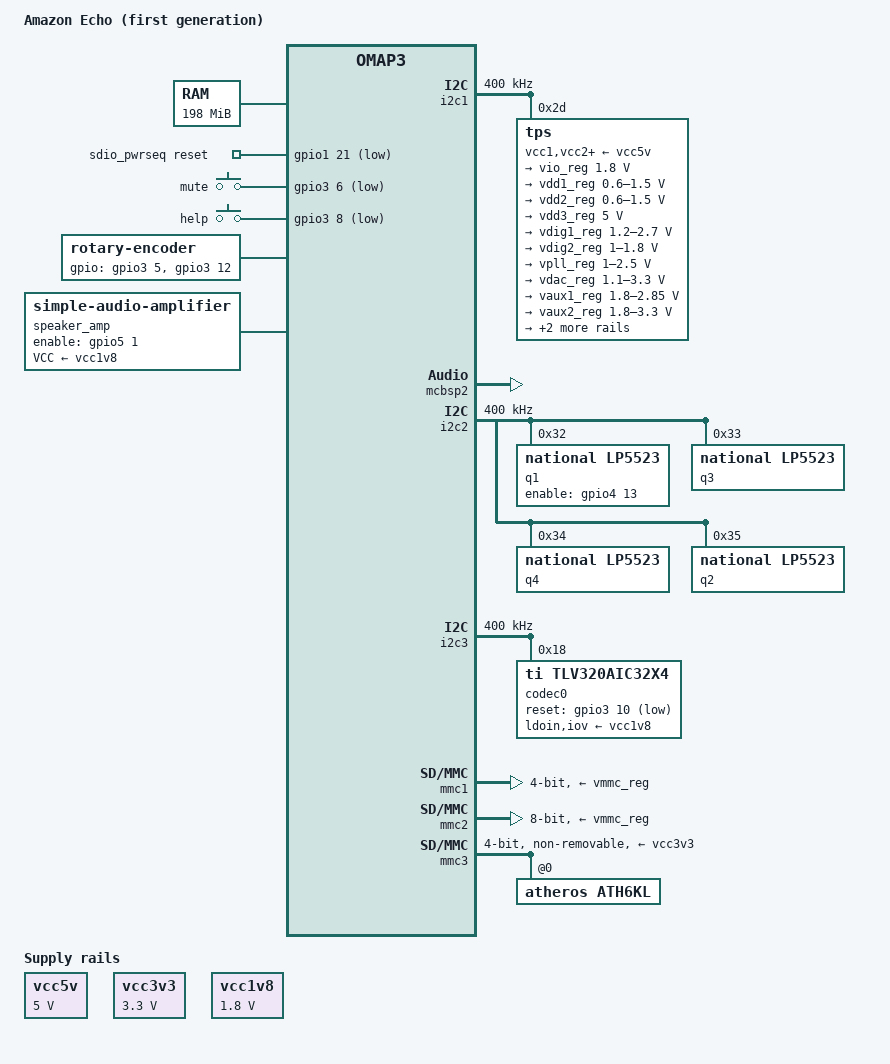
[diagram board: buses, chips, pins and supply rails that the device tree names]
// SPDX-License-Identifier: GPL-2.0-only
/*
 * Copyright (C) 2019 André Hentschel <nerv@dawncrow.de>
 */
/dts-v1/;

#include "dm3725.dtsi"

#include <dt-bindings/input/input.h>
#include <dt-bindings/leds/common.h>

/ {
	model = "Amazon Echo (first generation)";
	compatible = "amazon,omap3-echo", "ti,omap3630", "ti,omap3";

	cpus {
		cpu@0 {
			cpu0-supply = <&vdd1_reg>;
		};
	};

	memory@80000000 {
		device_type = "memory";
		reg = <0x80000000 0xc600000>; /* 198 MB */
	};

	vcc5v: fixedregulator0 {
		compatible = "regulator-fixed";
		regulator-name = "vcc5v";
		regulator-min-microvolt = <5000000>;
		regulator-max-microvolt = <5000000>;
		regulator-boot-on;
		regulator-always-on;
	};

	vcc3v3: fixedregulator1 {
		compatible = "regulator-fixed";
		regulator-name = "vcc3v3";
		regulator-min-microvolt = <3300000>;
		regulator-max-microvolt = <3300000>;
		regulator-boot-on;
		regulator-always-on;
	};

	vcc1v8: fixedregulator2 {
		compatible = "regulator-fixed";
		regulator-name = "vcc1v8";
		regulator-min-microvolt = <1800000>;
		regulator-max-microvolt = <1800000>;
		regulator-boot-on;
		regulator-always-on;
	};

	sdio_pwrseq: sdio-pwrseq {
		compatible = "mmc-pwrseq-simple";
		reset-gpios = <&gpio1 21 GPIO_ACTIVE_LOW>;
		post-power-on-delay-ms = <40>;
	};

	gpio-keys {
		compatible = "gpio-keys";

		pinctrl-names = "default";
		pinctrl-0 = <&button_pins>;

		mute-button {
			label = "mute";
			linux,code = <KEY_MUTE>;
			gpios = <&gpio3 6 GPIO_ACTIVE_LOW>;	/* GPIO_70 */
			wakeup-source;
		};

		help-button {
			label = "help";
			linux,code = <KEY_HELP>;
			gpios = <&gpio3 8 GPIO_ACTIVE_LOW>;	/* GPIO_72 */
			wakeup-source;
		};
	};

	rotary: rotary-encoder {
		compatible = "rotary-encoder";
		gpios = <
			&gpio3  5 GPIO_ACTIVE_HIGH /* GPIO_69 */
			&gpio3 12 GPIO_ACTIVE_HIGH /* GPIO_76 */
		>;
		linux,axis = <REL_X>;
		rotary-encoder,relative-axis;
	};

	speaker_amp: speaker-amplifier {
		compatible = "simple-audio-amplifier";
		enable-gpios = <&gpio5 1 GPIO_ACTIVE_HIGH>;	/* gpio_129 */
		sound-name-prefix = "Speaker Amp";
		VCC-supply = <&vcc1v8>;
	};

	sound {
		compatible = "simple-audio-card";
		simple-audio-card,name = "Misto Speaker";
		simple-audio-card,widgets =
			"Speaker", "Speaker";
		simple-audio-card,routing =
			"Speaker Amp INL", "HPL",
			"Speaker Amp INR", "HPR",
			"Speaker", "Speaker Amp OUTL",
			"Speaker", "Speaker Amp OUTR";
		simple-audio-card,format = "i2s";
		simple-audio-card,bitclock-master = <&sound_master>;
		simple-audio-card,frame-master = <&sound_master>;
		simple-audio-card,aux-devs = <&speaker_amp>;

		simple-audio-card,cpu {
			sound-dai = <&mcbsp2>;
		};

		sound_master: simple-audio-card,codec {
			sound-dai = <&codec0>;
			system-clock-frequency = <19200000>;
		};
	};
};

&i2c1 {
	clock-frequency = <400000>;

	tps: tps@2d {
		reg = <0x2d>;
	};
};

&mcbsp2 {
	status = "okay";
	#sound-dai-cells = <0>;
	pinctrl-names = "default";
	pinctrl-0 = <&mcbsp2_pins>;
};

&i2c2 {
	clock-frequency = <400000>;

	lp5523A: lp5523A@32 {
		#address-cells = <1>;
		#size-cells = <0>;
		compatible = "national,lp5523";
		label = "q1";
		reg = <0x32>;
		clock-mode = /bits/ 8 <0>; /* LP55XX_CLOCK_AUTO */
		enable-gpios = <&gpio4 13 GPIO_ACTIVE_HIGH>; /* GPIO_109 */

		multi-led@0 {
			#address-cells = <1>;
			#size-cells = <0>;
			reg = <0x0>;
			color = <LED_COLOR_ID_RGB>;

			led@0 {
				led-cur = /bits/ 8 <12>;
				max-cur = /bits/ 8 <15>;
				reg = <0x0>;
				color = <LED_COLOR_ID_GREEN>;
			};

			led@1 {
				led-cur = /bits/ 8 <12>;
				max-cur = /bits/ 8 <15>;
				reg = <0x1>;
				color = <LED_COLOR_ID_BLUE>;
			};

			led@6 {
				led-cur = /bits/ 8 <12>;
				max-cur = /bits/ 8 <15>;
				reg = <0x6>;
				color = <LED_COLOR_ID_RED>;
			};
		};
		multi-led@1 {
			#address-cells = <1>;
			#size-cells = <0>;
			reg = <0x1>;
			color = <LED_COLOR_ID_RGB>;

			led@2 {
				led-cur = /bits/ 8 <12>;
				max-cur = /bits/ 8 <15>;
				reg = <0x2>;
				color = <LED_COLOR_ID_GREEN>;
			};

			led@3 {
				led-cur = /bits/ 8 <12>;
				max-cur = /bits/ 8 <15>;
				reg = <0x3>;
				color = <LED_COLOR_ID_BLUE>;
			};

			led@7 {
				led-cur = /bits/ 8 <12>;
				max-cur = /bits/ 8 <15>;
				reg = <0x7>;
				color = <LED_COLOR_ID_RED>;
			};
		};
		multi-led@2 {
			#address-cells = <1>;
			#size-cells = <0>;
			reg = <0x2>;
			color = <LED_COLOR_ID_RGB>;

			led@4 {
				led-cur = /bits/ 8 <12>;
				max-cur = /bits/ 8 <15>;
				reg = <0x4>;
				color = <LED_COLOR_ID_GREEN>;
			};

			led@5 {
				led-cur = /bits/ 8 <12>;
				max-cur = /bits/ 8 <15>;
				reg = <0x5>;
				color = <LED_COLOR_ID_BLUE>;
			};

			led@8 {
				led-cur = /bits/ 8 <12>;
				max-cur = /bits/ 8 <15>;
				reg = <0x8>;
				color = <LED_COLOR_ID_RED>;
			};
		};
	};

	lp5523B: lp5523B@33 {
		#address-cells = <1>;
		#size-cells = <0>;
		compatible = "national,lp5523";
		label = "q3";
		reg = <0x33>;
		clock-mode = /bits/ 8 <0>; /* LP55XX_CLOCK_AUTO */

		multi-led@0 {
			#address-cells = <1>;
			#size-cells = <0>;
			reg = <0x0>;
			color = <LED_COLOR_ID_RGB>;

			led@0 {
				led-cur = /bits/ 8 <12>;
				max-cur = /bits/ 8 <15>;
				reg = <0x0>;
				color = <LED_COLOR_ID_GREEN>;
			};

			led@1 {
				led-cur = /bits/ 8 <12>;
				max-cur = /bits/ 8 <15>;
				reg = <0x1>;
				color = <LED_COLOR_ID_BLUE>;
			};

			led@6 {
				led-cur = /bits/ 8 <12>;
				max-cur = /bits/ 8 <15>;
				reg = <0x6>;
				color = <LED_COLOR_ID_RED>;
			};
		};
		multi-led@1 {
			#address-cells = <1>;
			#size-cells = <0>;
			reg = <0x1>;
			color = <LED_COLOR_ID_RGB>;

			led@2 {
				led-cur = /bits/ 8 <12>;
				max-cur = /bits/ 8 <15>;
				reg = <0x2>;
				color = <LED_COLOR_ID_GREEN>;
			};

			led@3 {
				led-cur = /bits/ 8 <12>;
				max-cur = /bits/ 8 <15>;
				reg = <0x3>;
				color = <LED_COLOR_ID_BLUE>;
			};

			led@7 {
				led-cur = /bits/ 8 <12>;
				max-cur = /bits/ 8 <15>;
				reg = <0x7>;
				color = <LED_COLOR_ID_RED>;
			};
		};
		multi-led@2 {
			#address-cells = <1>;
			#size-cells = <0>;
			reg = <0x2>;
			color = <LED_COLOR_ID_RGB>;

			led@4 {
				led-cur = /bits/ 8 <12>;
				max-cur = /bits/ 8 <15>;
				reg = <0x4>;
				color = <LED_COLOR_ID_GREEN>;
			};

			led@5 {
				led-cur = /bits/ 8 <12>;
				max-cur = /bits/ 8 <15>;
				reg = <0x5>;
				color = <LED_COLOR_ID_BLUE>;
			};

			led@8 {
				led-cur = /bits/ 8 <12>;
				max-cur = /bits/ 8 <15>;
				reg = <0x8>;
				color = <LED_COLOR_ID_RED>;
			};
		};
	};

	lp5523C: lp5523C@34 {
		#address-cells = <1>;
		#size-cells = <0>;
		compatible = "national,lp5523";
		label = "q4";
		reg = <0x34>;
		clock-mode = /bits/ 8 <0>; /* LP55XX_CLOCK_AUTO */

		multi-led@0 {
			#address-cells = <1>;
			#size-cells = <0>;
			reg = <0x0>;
			color = <LED_COLOR_ID_RGB>;

			led@0 {
				led-cur = /bits/ 8 <12>;
				max-cur = /bits/ 8 <15>;
				reg = <0x0>;
				color = <LED_COLOR_ID_GREEN>;
			};

			led@1 {
				led-cur = /bits/ 8 <12>;
				max-cur = /bits/ 8 <15>;
				reg = <0x1>;
				color = <LED_COLOR_ID_BLUE>;
			};

			led@6 {
				led-cur = /bits/ 8 <12>;
				max-cur = /bits/ 8 <15>;
				reg = <0x6>;
				color = <LED_COLOR_ID_RED>;
			};
		};
		multi-led@1 {
			#address-cells = <1>;
			#size-cells = <0>;
			reg = <0x1>;
			color = <LED_COLOR_ID_RGB>;

			led@2 {
				led-cur = /bits/ 8 <12>;
				max-cur = /bits/ 8 <15>;
				reg = <0x2>;
				color = <LED_COLOR_ID_GREEN>;
			};

			led@3 {
				led-cur = /bits/ 8 <12>;
				max-cur = /bits/ 8 <15>;
				reg = <0x3>;
				color = <LED_COLOR_ID_BLUE>;
			};

			led@7 {
				led-cur = /bits/ 8 <12>;
				max-cur = /bits/ 8 <15>;
				reg = <0x7>;
				color = <LED_COLOR_ID_RED>;
			};
		};
		multi-led@2 {
			#address-cells = <1>;
			#size-cells = <0>;
			reg = <0x2>;
			color = <LED_COLOR_ID_RGB>;

			led@4 {
				led-cur = /bits/ 8 <12>;
				max-cur = /bits/ 8 <15>;
				reg = <0x4>;
				color = <LED_COLOR_ID_GREEN>;
			};

			led@5 {
				led-cur = /bits/ 8 <12>;
				max-cur = /bits/ 8 <15>;
				reg = <0x5>;
				color = <LED_COLOR_ID_BLUE>;
			};

			led@8 {
				led-cur = /bits/ 8 <12>;
				max-cur = /bits/ 8 <15>;
				reg = <0x8>;
				color = <LED_COLOR_ID_RED>;
			};
		};
	};

	lp5523D: lp552D@35 {
		#address-cells = <1>;
		#size-cells = <0>;
		compatible = "national,lp5523";
		label = "q2";
		reg = <0x35>;
		clock-mode = /bits/ 8 <0>; /* LP55XX_CLOCK_AUTO */

		multi-led@0 {
			#address-cells = <1>;
			#size-cells = <0>;
			reg = <0x0>;
			color = <LED_COLOR_ID_RGB>;

			led@0 {
				led-cur = /bits/ 8 <12>;
				max-cur = /bits/ 8 <15>;
				reg = <0x0>;
				color = <LED_COLOR_ID_GREEN>;
			};

			led@1 {
				led-cur = /bits/ 8 <12>;
				max-cur = /bits/ 8 <15>;
				reg = <0x1>;
				color = <LED_COLOR_ID_BLUE>;
			};

			led@6 {
				led-cur = /bits/ 8 <12>;
				max-cur = /bits/ 8 <15>;
				reg = <0x6>;
				color = <LED_COLOR_ID_RED>;
			};
		};
		multi-led@1 {
			#address-cells = <1>;
			#size-cells = <0>;
			reg = <0x1>;
			color = <LED_COLOR_ID_RGB>;

			led@2 {
				led-cur = /bits/ 8 <12>;
				max-cur = /bits/ 8 <15>;
				reg = <0x2>;
				color = <LED_COLOR_ID_GREEN>;
			};

			led@3 {
				led-cur = /bits/ 8 <12>;
				max-cur = /bits/ 8 <15>;
				reg = <0x3>;
				color = <LED_COLOR_ID_BLUE>;
			};

			led@7 {
				led-cur = /bits/ 8 <12>;
				max-cur = /bits/ 8 <15>;
				reg = <0x7>;
				color = <LED_COLOR_ID_RED>;
			};
		};
		multi-led@2 {
			#address-cells = <1>;
			#size-cells = <0>;
			reg = <0x2>;
			color = <LED_COLOR_ID_RGB>;

			led@4 {
				led-cur = /bits/ 8 <12>;
				max-cur = /bits/ 8 <15>;
				reg = <0x4>;
				color = <LED_COLOR_ID_GREEN>;
			};

			led@5 {
				led-cur = /bits/ 8 <12>;
				max-cur = /bits/ 8 <15>;
				reg = <0x5>;
				color = <LED_COLOR_ID_BLUE>;
			};

			led@8 {
				led-cur = /bits/ 8 <12>;
				max-cur = /bits/ 8 <15>;
				reg = <0x8>;
				color = <LED_COLOR_ID_RED>;
			};
		};
	};
};

&i2c3 {
	clock-frequency = <400000>;

	codec0: codec@18 {
		#sound-dai-cells = <0>;
		compatible = "ti,tlv320aic32x4";
		reg = <0x18>;
		clocks = <&sys_clkout1>;
		clock-names = "mclk";
		ldoin-supply = <&vcc1v8>;
		iov-supply = <&vcc1v8>;
		reset-gpios = <&gpio3 10 GPIO_ACTIVE_LOW>;	/* gpio_74 */
	};
};


#include "tps65910.dtsi"

&omap3_pmx_core {
	tps_pins: pinmux_tps_pins {
		pinctrl-single,pins = <
			OMAP3_CORE1_IOPAD(0x21e0, PIN_INPUT_PULLUP | PIN_OFF_INPUT_PULLUP | PIN_OFF_OUTPUT_LOW | PIN_OFF_WAKEUPENABLE | MUX_MODE0) /* sys_nirq.sys_nirq */
		>;
	};

	button_pins: pinmux_button_pins {
		pinctrl-single,pins = <
			OMAP3_CORE1_IOPAD(0x20dc, PIN_INPUT | MUX_MODE4)	/* dss_data0.gpio_70 */
			OMAP3_CORE1_IOPAD(0x20e0, PIN_INPUT | MUX_MODE4)	/* dss_data2.gpio_72 */
			OMAP3_CORE1_IOPAD(0x20e4, PIN_OUTPUT | MUX_MODE4)	/* dss_data4.gpio_74 */
			OMAP3_CORE1_IOPAD(0x20fa, PIN_OUTPUT_PULLDOWN | MUX_MODE4)	/* dss_data15.gpio_85 */
			OMAP3_CORE1_IOPAD(0x2a1a, PIN_OUTPUT | MUX_MODE0)	/* sys_clkout1.sys_clkout1 */
		>;
	};

	mmc1_pins: pinmux_mmc1_pins {
		pinctrl-single,pins = <
			OMAP3_CORE1_IOPAD(0x2144, PIN_INPUT_PULLUP | MUX_MODE0)		/* sdmmc1_clk.sdmmc1_clk */
			OMAP3_CORE1_IOPAD(0x2146, PIN_INPUT_PULLUP | MUX_MODE0)		/* sdmmc1_cmd.sdmmc1_cmd */
			OMAP3_CORE1_IOPAD(0x2148, PIN_INPUT_PULLUP | MUX_MODE0)		/* sdmmc1_dat0.sdmmc1_dat0 */
			OMAP3_CORE1_IOPAD(0x214a, PIN_INPUT_PULLUP | MUX_MODE0)		/* sdmmc1_dat1.sdmmc1_dat1 */
			OMAP3_CORE1_IOPAD(0x214c, PIN_INPUT_PULLUP | MUX_MODE0)		/* sdmmc1_dat2.sdmmc1_dat2 */
			OMAP3_CORE1_IOPAD(0x214e, PIN_INPUT_PULLUP | MUX_MODE0)		/* sdmmc1_dat3.sdmmc1_dat3 */
		>;
	};

	mmc2_pins: pinmux_mmc2_pins {
		pinctrl-single,pins = <
			OMAP3_CORE1_IOPAD(0x2158, PIN_INPUT_PULLUP | MUX_MODE0)		/* sdmmc2_clk.sdmmc2_clk */
			OMAP3_CORE1_IOPAD(0x215a, PIN_INPUT_PULLUP | MUX_MODE0)		/* sdmmc2_cmd.sdmmc2_cmd */
			OMAP3_CORE1_IOPAD(0x215c, PIN_INPUT_PULLUP | MUX_MODE0)		/* sdmmc2_dat0.sdmmc2_dat0 */
			OMAP3_CORE1_IOPAD(0x215e, PIN_INPUT_PULLUP | MUX_MODE0)		/* sdmmc2_dat1.sdmmc2_dat1 */
			OMAP3_CORE1_IOPAD(0x2160, PIN_INPUT_PULLUP | MUX_MODE0)		/* sdmmc2_dat2.sdmmc2_dat2 */
			OMAP3_CORE1_IOPAD(0x2162, PIN_INPUT_PULLUP | MUX_MODE0)		/* sdmmc2_dat3.sdmmc2_dat3 */
			OMAP3_CORE1_IOPAD(0x2164, PIN_INPUT_PULLUP | MUX_MODE0)		/* sdmmc2_dat4.sdmmc2_dat4 */
			OMAP3_CORE1_IOPAD(0x2166, PIN_INPUT_PULLUP | MUX_MODE0)		/* sdmmc2_dat5.sdmmc2_dat5 */
			OMAP3_CORE1_IOPAD(0x2168, PIN_INPUT_PULLUP | MUX_MODE0)		/* sdmmc2_dat6.sdmmc2_dat6 */
			OMAP3_CORE1_IOPAD(0x216a, PIN_INPUT_PULLUP | MUX_MODE0)		/* sdmmc2_dat7.sdmmc2_dat7 */
		>;
	};

	mcbsp2_pins: pinmux_mcbsp2_pins {
		pinctrl-single,pins = <
			OMAP3_CORE1_IOPAD(0x213c, PIN_INPUT | MUX_MODE0)	/* mcbsp2_fsx.mcbsp2_fsx */
			OMAP3_CORE1_IOPAD(0x213e, PIN_INPUT | MUX_MODE0)	/* mcbsp2_clkx.mcbsp2_clkx */
			OMAP3_CORE1_IOPAD(0x2140, PIN_INPUT | MUX_MODE0)	/* mcbsp2_dr.mcbsp2.dr */
			OMAP3_CORE1_IOPAD(0x2142, PIN_OUTPUT | MUX_MODE0)	/* mcbsp2_dx.mcbsp2_dx */
		>;
	};
};

&omap3_pmx_core2 {
	mmc3_pins: pinmux_mmc3_pins {
		pinctrl-single,pins = <
			OMAP3630_CORE2_IOPAD(0x25d8, PIN_INPUT_PULLUP | MUX_MODE2)	/* etk_clk.sdmmc3_clk */
			OMAP3630_CORE2_IOPAD(0x25da, PIN_INPUT_PULLUP | MUX_MODE2)	/* etk_ctl.sdmmc3_cmd */
			OMAP3630_CORE2_IOPAD(0x25e2, PIN_INPUT_PULLUP | MUX_MODE2)	/* etk_d3.sdmmc3_dat3 */
			OMAP3630_CORE2_IOPAD(0x25e4, PIN_INPUT_PULLUP | MUX_MODE2)	/* etk_d4.sdmmc3_dat0 */
			OMAP3630_CORE2_IOPAD(0x25e6, PIN_INPUT_PULLUP | MUX_MODE2)	/* etk_d5.sdmmc3_dat1 */
			OMAP3630_CORE2_IOPAD(0x25e8, PIN_INPUT_PULLUP | MUX_MODE2)	/* etk_d6.sdmmc3_dat2 */
		>;
	};
};

&mmc1 {
	status = "okay";
	bus-width = <4>;
	pinctrl-names = "default";
	pinctrl-0 = <&mmc1_pins>;
	vmmc-supply = <&vmmc_reg>;
};

&mmc2 {
	status = "okay";
	bus-width = <8>;
	pinctrl-names = "default";
	pinctrl-0 = <&mmc2_pins>;
	vmmc-supply = <&vmmc_reg>;
};

&mmc3 {
	#address-cells = <1>;
	#size-cells = <0>;
	status = "okay";
	bus-width = <4>;
	pinctrl-names = "default";
	pinctrl-0 = <&mmc3_pins>;
	non-removable;
	disable-wp;
	mmc-pwrseq = <&sdio_pwrseq>;
	vmmc-supply = <&vcc3v3>;
	vqmmc-supply = <&vcc1v8>;
	atheros@0 {
		compatible = "atheros,ath6kl";
		reg = <0>;
		bus-width = <4>;
	};
};

&tps {
	pinctrl-names = "default";
	pinctrl-0 = <&tps_pins>;

	interrupts = <7>; /* SYS_NIRQ cascaded to intc */
	interrupt-parent = <&intc>;

	ti,en-ck32k-xtal;
	ti,system-power-controller;

	vcc1-supply = <&vcc5v>;
	vcc2-supply = <&vcc5v>;
	vcc3-supply = <&vcc5v>;
	vcc4-supply = <&vcc5v>;
	vcc5-supply = <&vcc5v>;
	vcc6-supply = <&vcc5v>;
	vcc7-supply = <&vcc5v>;
	vccio-supply = <&vcc5v>;

	regulators {

		vio_reg: regulator@1 {
			regulator-min-microvolt = <1800000>;
			regulator-max-microvolt = <1800000>;
			regulator-always-on;
		};

		vdd1_reg: regulator@2 {
			regulator-name = "vdd_mpu";
			regulator-min-microvolt = <600000>;
			regulator-max-microvolt = <1500000>;
			regulator-boot-on;
			regulator-always-on;
		};

		vdd2_reg: regulator@3 {
			regulator-name = "vdd_dsp";
			regulator-min-microvolt = <600000>;
			regulator-max-microvolt = <1500000>;
			regulator-always-on;
		};

		vdd3_reg: regulator@4 {
			regulator-name = "vdd_core";
			regulator-min-microvolt = <5000000>;
			regulator-max-microvolt = <5000000>;
			regulator-always-on;
		};

		vdig1_reg: regulator@5 {
			regulator-min-microvolt = <1200000>;
			regulator-max-microvolt = <2700000>;
			regulator-always-on;
		};

		vdig2_reg: regulator@6 {
			regulator-min-microvolt = <1000000>;
			regulator-max-microvolt = <1800000>;
			regulator-always-on;
		};

		vpll_reg: regulator@7 {
			regulator-min-microvolt = <1000000>;
			regulator-max-microvolt = <2500000>;
			regulator-always-on;
		};

		vdac_reg: regulator@8 {
			regulator-min-microvolt = <1100000>;
			regulator-max-microvolt = <3300000>;
			regulator-always-on;
		};

		vaux1_reg: regulator@9 {
			regulator-min-microvolt = <1800000>;
			regulator-max-microvolt = <2850000>;
			regulator-always-on;
		};

		vaux2_reg: regulator@10 {
			regulator-min-microvolt = <1800000>;
			regulator-max-microvolt = <3300000>;
			regulator-always-on;
		};

		vaux33_reg: regulator@11 {
			regulator-min-microvolt = <1800000>;
			regulator-max-microvolt = <3300000>;
			regulator-always-on;
		};

		vmmc_reg: regulator@12 {
			regulator-min-microvolt = <1800000>;
			regulator-max-microvolt = <3000000>;
			regulator-always-on;
		};
	};
};
